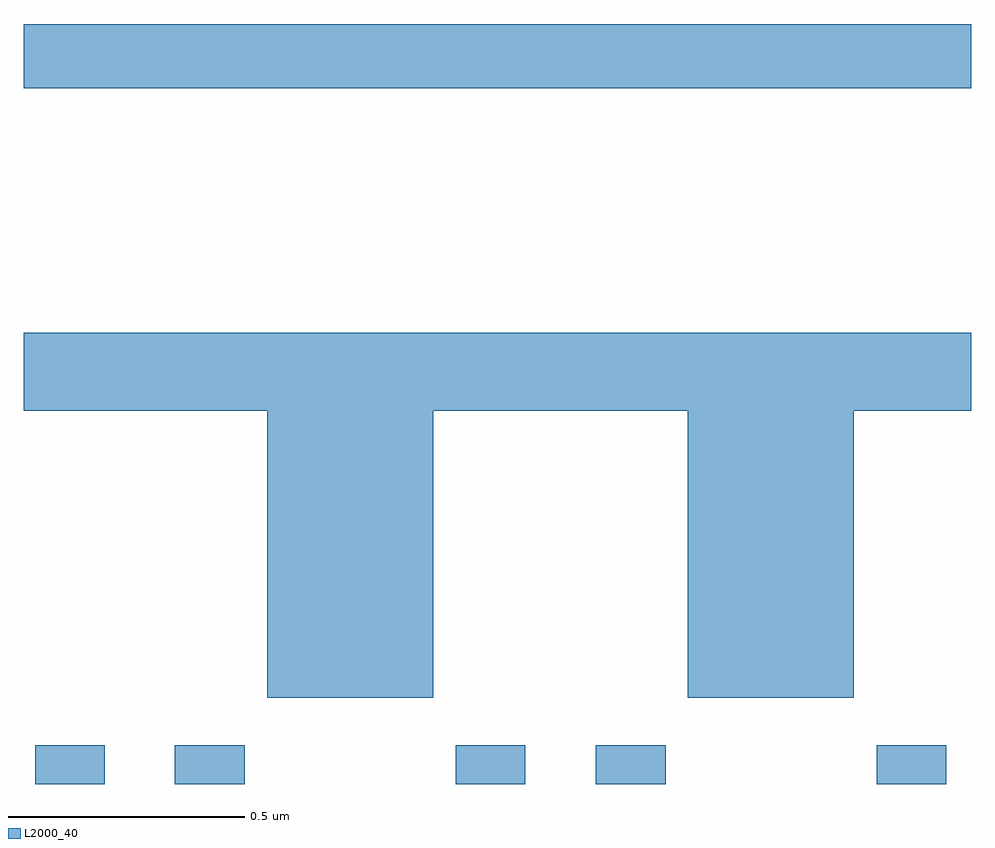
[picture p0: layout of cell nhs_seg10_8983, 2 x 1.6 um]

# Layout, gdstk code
import gdstk
lib = gdstk.Library(unit=1e-6, precision=1e-09)
def R(c, l, rs):  # rectangles x0, y0, x1, y1
    for r in rs: c.add(gdstk.rectangle(r[:2], r[2:], *l))
def A(c, l, x, y, w, h, nx, ny, dx, dy):  # array of equal rectangles
    R(c, l, [(x+i*dx, y+j*dy, x+i*dx+w, y+j*dy+h) for i in range(nx) for j in range(ny)])
def P(c, l, *ps):  # polygons
    for p in ps: c.add(gdstk.Polygon(p, *l))
L2000_40 = (2000, 40)

nhs_seg10_8983 = lib.new_cell('nhs_seg10_8983')
A(nhs_seg10_8983, L2000_40, 223.024, 1327.5, 0.147, 0.082, 3, 1, 0.888, 0)
R(nhs_seg10_8983, L2000_40, [(223.319,1327.5,223.467,1327.582), (224.207,1327.5,224.355,1327.582), (223,1328.968,225,1329.104)])
P(nhs_seg10_8983, L2000_40, [(223.864,1328.288),(224.402,1328.288),(224.402,1327.682),(224.752,1327.682),(224.752,1328.288),(225,1328.288),(225,1328.452),(223,1328.452),(223,1328.288),(223.514,1328.288),(223.514,1327.682),(223.864,1327.682)])

lib.write_gds('nhs_seg10_8983.gds')
